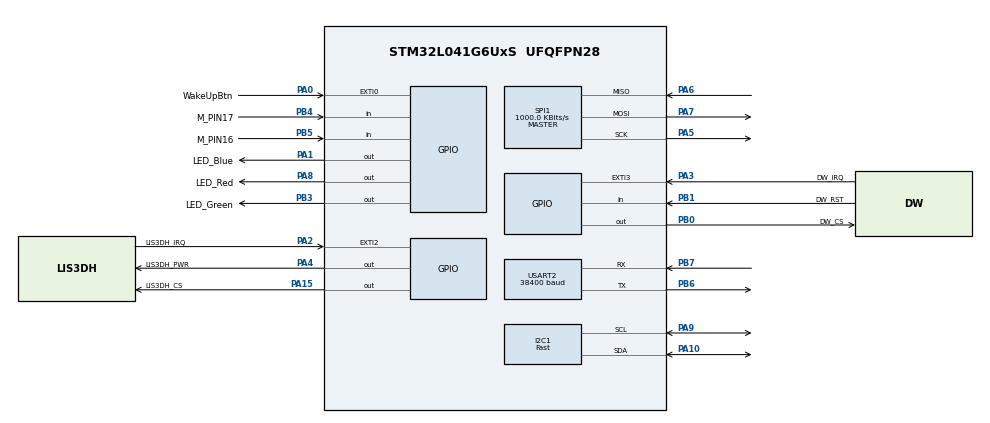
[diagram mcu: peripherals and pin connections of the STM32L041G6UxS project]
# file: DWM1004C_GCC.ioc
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Mcu.Family=STM32L0
PA0-CK_IN.GPIO_Label=WakeUpBtn
PA6.Mode=Full_Duplex_Master
I2C1.I2C_Speed_Mode=I2C_Fast
SPI1.VirtualType=VM_MASTER
VP_RTC_VS_RTC_Activate.Mode=RTC_Enabled
PB0.GPIO_Label=DW_CS
RCC.SYSCLKSource=RCC_SYSCLKSOURCE_HSI
ProjectManager.StackSize=0x400
PA15.GPIO_Label=LIS3DH_CS
PB0.PinState=GPIO_PIN_SET
PB3.PinState=GPIO_PIN_SET
SPI1.Direction=SPI_DIRECTION_2LINES
RCC.HCLKFreq_Value=16000000
RCC.APB2TimFreq_Value=16000000
PB6.Signal=USART2_TX
RCC.Usart2ClockSelection=RCC_USART2CLKSOURCE_HSI
PB6.Mode=Asynchronous
SPI1.CalculateBaudRate=1000.0 KBits/s
RCC.AHBFreq_Value=16000000
RCC.HSE_VALUE=8000000
USART2.VirtualMode-Asynchronous=VM_ASYNC
RCC.RTCClockSelection=RCC_RTCCLKSOURCE_LSI
RCC.PLLMUL=RCC_PLLMUL_4
USART2.OverSampling=UART_OVERSAMPLING_8
PA0-CK_IN.Signal=GPXTI0
RCC.RTCClockSelectionVirtual=RCC_RTCCLKSOURCE_LSE
PA14.Mode=Serial_Wire
PB1.GPIO_Label=DW_RST
PB7.Signal=USART2_RX
PA8.Signal=GPIO_Output
Mcu.Package=UFQFPN28
PB1.Signal=GPIO_Input
PA6.Signal=SPI1_MISO
PA2.GPIO_Label=LIS3DH_IRQ
PA10.Signal=I2C1_SDA
PA15.Signal=GPIO_Output
PA1.PinState=GPIO_PIN_SET
PB5.GPIO_Label=M_PIN16
RCC.APB1TimFreq_Value=16000000
SPI1.BaudRatePrescaler=SPI_BAUDRATEPRESCALER_16
PA4.GPIO_Label=LIS3DH_PWR
RCC.MSIClockRange=RCC_MSIRANGE_1
PA8.PinState=GPIO_PIN_SET
PB4.Signal=GPIO_Input
PA3.Signal=GPXTI3
PA5.Mode=Full_Duplex_Master
USART2.OverrunDisableParam=ADVFEATURE_OVERRUN_DISABLE
PB3.GPIO_Label=LED_Green
RCC.MSI_VALUE=131072
PA7.Mode=Full_Duplex_Master
PA10.Mode=I2C
NVIC.USART2_IRQn=true\:0\:0\:false\:false\:true\:true\:true
USART2.BaudRate=38400
PA13.Signal=SYS_SWDIO
RCC.HSI16_VALUE=16000000
PA9.Mode=I2C
PA8.GPIO_Label=LED_Red
PA4.PinState=GPIO_PIN_SET
ProjectManager.TargetToolchain=STM32CubeIDE
PA9.Signal=I2C1_SCL
I2C1.Timing=0x0010061A
PB4.GPIO_PuPd=GPIO_PULLUP
PA0-CK_IN.GPIO_PuPd=GPIO_PULLUP
RCC.LSE_VALUE=32768
PA1.Signal=GPIO_Output
PA5.Signal=SPI1_SCK
board=custom
RCC.VCOOutputFreq_Value=64000000
NVIC.EXTI2_3_IRQn=true\:0\:0\:false\:false\:true\:true\:true
PA15.PinState=GPIO_PIN_SET
RCC.APB2Freq_Value=16000000
PB4.GPIO_Label=M_PIN17
SPI1.Mode=SPI_MODE_MASTER
RCC.ADCFreq_Value=16000000
PA1.GPIO_Label=LED_Blue
PA13.Mode=Serial_Wire
Mcu.Name=STM32L041G6UxS
RCC.LptimClockSelection=RCC_LPTIM1CLKSOURCE_LSI
PA2.Signal=GPXTI2
PB3.Signal=GPIO_Output
PA4.Signal=GPIO_Output
RCC.SYSCLKFreq_VALUE=16000000
PB5.Signal=GPIO_Input
PB5.GPIO_PuPd=GPIO_PULLUP
PB7.Mode=Asynchronous
PA14.Signal=SYS_SWCLK
ProjectManager.HeapSize=0x200
RCC.HSI_VALUE=16000000
RCC.APB1Freq_Value=16000000
VP_CRC_VS_CRC.Mode=CRC_Activate
PB0.Signal=GPIO_Output
PA3.GPIO_Label=DW_IRQ
PA7.Signal=SPI1_MOSI
NVIC.EXTI0_1_IRQn=true\:0\:0\:false\:false\:true\:true\:true

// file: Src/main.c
/* USER CODE BEGIN Header */
/**
  ******************************************************************************
  * @file           : main.c
  * @brief          : Main program body
  ******************************************************************************
  * @attention
  *
  * <h2><center>&copy; Copyright (c) 2020 STMicroelectronics.
  * All rights reserved.</center></h2>
  *
  * This software component is licensed by ST under BSD 3-Clause license,
  * the "License"; You may not use this file except in compliance with the
  * License. You may obtain a copy of the License at:
  *                        opensource.org/licenses/BSD-3-Clause
  *
  ******************************************************************************
  */
/* USER CODE END Header */
#include "main.h"

/* USER CODE BEGIN Includes */
#include <stdint.h>
#include <stdlib.h>
#include "lis3dh.h"
#include "stm32l041xx.h"
/* USER CODE END Includes */

/* USER CODE BEGIN PD */
#define  TICK_INT_PRIORITY            ((uint32_t)0U)

/* USER CODE END PD */

/* USER CODE BEGIN PV */
/* Private variables ---------------------------------------------------------*/

/* USER CODE END PV */

void SystemClock_Config(void);
static void MX_GPIO_Init(void);
static void MX_SPI1_Init(void);
static void MX_USART2_UART_Init(void);
static void MX_I2C1_Init(void);
static void MX_CRC_Init(void);
static void MX_RTC_Init(void);
/* USER CODE BEGIN PFP */
/* Private function prototypes -----------------------------------------------*/

/* USER CODE END PFP */

/* USER CODE BEGIN 0 */

#include "port_platform.h"
#include "deca_types.h"
#include "deca_param_types.h"
#include "deca_regs.h"
#include "deca_device_api.h"
#include "default_config.h"
#include "instance.h"
#include "config.h"
#include "translate.h"

/* Structure for all global variables */
app_cfg_t app;

/*! ----------------------------------------------------------------------------
 *  @file    main.c
 *  @brief   Single-sided two-way ranging (SS TWR) API example code
 *
 *           This code implements a Single Sided Two Way Ranging between 2 x DWM1004C devices
 *           The same code supports both modes: Initiator and Responder
 *           The Initiator sends a "poll" frame (recording the TX time-stamp of the poll), after which it waits for a "response" message from the Responder
 *           to complete the exchange. The response message contains the remote responder's time-stamps of poll RX, and response TX. With this data and the
 *           local time-stamps, (of poll TX and response RX), the Initator works out a value for the time-of-flight over-the-air and, thus, the estimated
 *           distance between the two devices, which it writes to the UART console output.
 *
 * @attention
 *
 * Copyright 2020 (c) Decawave Ltd, Dublin, Ireland.
 *
 * All rights reserved.
 *
 * @author Decawave
 */

#include <stdio.h>
#include <string.h>

#include "deca_device_api.h"
#include "deca_regs.h"
#include "deca_spi.h"
#include "port_platform.h"

extern void set_los_nlos_config( uint8_t nlos );

/* Default antenna delay values for 64 MHz PRF. */
#define TX_ANT_DLY 16436
#define RX_ANT_DLY 16436

/* Frames used in the ranging process. */
static uint8 tx_poll_msg[] = {0x41, 0x88, 0, 0xCA, 0xDE, 'W', 'A', 'V', 'E', 0xE0, 0, 0};
static uint8 rx_resp_msg[] = {0x41, 0x88, 0, 0xCA, 0xDE, 'V', 'E', 'W', 'A', 0xE1, 0, 0, 0, 0, 0, 0, 0, 0, 0, 0};
/* Length of the common part of the message (up to and including the function code). */
#define ALL_MSG_COMMON_LEN 10
/* Indexes to access some of the fields in the frames defined above. */
#define ALL_MSG_SN_IDX 2
#define RESP_MSG_POLL_RX_TS_IDX 10
#define RESP_MSG_RESP_TX_TS_IDX 14  // actually NOT used : should be 15 , as 5 bytes timestamps exchanged in this FW, for temporary compatibility with diag tool
#define RESP_MSG_TS_LEN 4
/* Frame sequence number, incremented after each transmission. */
static uint8 frame_seq_nb = 0;

/* Buffer to store received response message.
 * Its size is adjusted to longest frame that this example code is supposed to handle. */
#define RX_BUF_LEN 64 // 20
static uint8 rx_buffer[RX_BUF_LEN];
static uint8_t seq_number;

/* Hold copy of status register state here for reference so that it can be examined at a debug breakpoint. */
static uint32 status_reg = 0;

/* UWB microsecond (uus) to device time unit (dtu, around 15.65 ps) conversion factor.
 * 1 uus = 512 / 499.2 �s and 1 �s = 499.2 * 128 dtu. */
#define UUS_TO_DWT_TIME 65536

/* Delay between frames, in UWB microseconds. */
#define POLL_TX_TO_RESP_RX_DLY_UUS 140
/* Receive response timeout. */
#define RESP_RX_TIMEOUT_UUS 210

/* Speed of light in air, in metres per second. */
#define SPEED_OF_LIGHT 299702547

/*
 * Code for Log10() and dB computation using integers only *
 *
 */
#define LOG_TAB_SZ  32

#define LOG10_2_x1000 301 // 100.0*(10*Log10(2))

const uint16_t log10_tab_1_2_int[LOG_TAB_SZ] = {
    0,  // = 100.0 * (10.0 * Log10( i / LOG_TAB_SZ)) i  = index in the table ranging from 0 to LOG_TAB_SZ - 1
    13,
    26,
    38,
    51,
    63,
    74,
    85,
    96,
    107,
    118,
    128,
    138,
    148,
    157,
    166,
    176,
    185,
    193,
    202,
    210,
    219,
    227,
    235,
    243,
    250,
    258,
    265,
    273,
    280,
    287,
    294
};

uint8_t get_msb(uint32_t x)
{
    uint8_t i = 1;
    for (i = 1; i < 32; i++)
    {
        if (x < (1UL << i))
        {
            break;
        }
    }
    return(i - 1);
}

uint32_t dB_x100(uint32_t x)
{
    uint32_t res, pow2_low_bound;
    int32_t log_tab_idx, msb;

    msb = get_msb(x);
    pow2_low_bound = (1UL << msb); // pow2_low_bound <= x < 2 x pow2_low_bound
    log_tab_idx = ((x - pow2_low_bound)*LOG_TAB_SZ) / pow2_low_bound; // 0<= log_tab_idx < LOG_TAB_SZ

    // x = r x 2^msb
    // log10(x) = log10(r) + msb x log10(2)
    // log10(x) = log10_tab[LOG_TAB_SZ x (r-1)] + msb x log10(2)
    res = (uint32_t)log10_tab_1_2_int[log_tab_idx] + msb * LOG10_2_x1000;

    return(res);
}

void get_ext_diag_info( dwt_rxdiag_t *p_diagnostics, int32_t *p_rx_lvl )
{
    uint32_t arg, n_rxpacc , n_rxpacc_nosat , br , rxprf ;
    int32_t  div , A_dBm_x100;

    dwt_readdiagnostics( p_diagnostics );

    n_rxpacc        = p_diagnostics->rxPreamCount; // was read from  = (dwt_read32bitreg(RX_FINFO_ID) & RX_FINFO_RXPACC_MASK) >> RX_FINFO_RXPACC_SHIFT  ;
    n_rxpacc_nosat  = dwt_read16bitoffsetreg(DRX_CONF_ID, 0x2C );
    if( n_rxpacc == n_rxpacc_nosat )
    {
        // then adjustment is needed
        br = (dwt_read32bitreg(RX_FINFO_ID) & RX_FINFO_RXBR_MASK) >> RX_FINFO_RXBR_SHIFT  ;
        if( br == RX_FINFO_RXBR_110k )
        {
/*          sfd_len = 64; The standard specifies the SFD, which consists of the preamble symbols either not sent, or sent as normal or
    sent inverted (i.e. positive and negative pulses reversed) in a defined pattern 8 symbol times long for data
    rates other than 110 kbps, and 64 symbols long for the 110 kbps mode. */
            n_rxpacc -= 64; // We assume standard SFD - see table 18 of dw1000_user_manual_2.12
        } else
        {
//          sfd_len = 8;
            n_rxpacc -= 5;  //  We assume standard SFD - see table 18 of dw1000_user_manual_2.12
        }
    }

    rxprf = (dwt_read32bitreg(RX_FINFO_ID) & RX_FINFO_RXPRF_MASK) >> RX_FINFO_RXPRF_SHIFT  ;
    if( rxprf == RX_FINFO_RXPRF_16M )
    {
        A_dBm_x100 = 11377; // 113.77 for a PRF of 16 MHz,
    } else
    {
        A_dBm_x100 = 12174; //  121.74 for a PRF of 64 MHz,
    }

    arg  = p_diagnostics->firstPathAmp1*p_diagnostics->firstPathAmp1;
    arg += p_diagnostics->firstPathAmp2*p_diagnostics->firstPathAmp2;
    arg += p_diagnostics->firstPathAmp3*p_diagnostics->firstPathAmp3;

    div = dB_x100( n_rxpacc*n_rxpacc ) ;

    // as documented in DW1000 User Manual section 4.7.2 Estimating the receive signal power
    // c = (uint32_t) (p_diagnostics->maxGrowthCIR) << 17;
    *p_rx_lvl = ( dB_x100( (uint32_t) (p_diagnostics->maxGrowthCIR) << 17 ) - div ) -  A_dBm_x100  ;

    return;
}

/* Delay between frames, in UWB microseconds. */
#define POLL_RX_TO_RESP_TX_DLY_UUS 1000 // 330
static uint8 tx_resp_msg[] = {0x41, 0x88, 0, 0xCA, 0xDE, 'V', 'E', 'W', 'A', 0xE1, 0, 0, 0, 0, 0, 0, 0, 0, 0, 0};

void resp_to_poll( uint8_t *p_rx_buffer , uint8_t len )
{
    tx_poll_msg[ ALL_MSG_SN_IDX ] = 0;
    if (memcmp(p_rx_buffer, tx_poll_msg, ALL_MSG_COMMON_LEN) == 0)
    {
        uint32 resp_tx_time , pream_len , bitrate_kbps ,t_xmt_pld_uus;
        uint64_t poll_rx_ts , resp_tx_ts ;
        int ret;

        /* Retrieve poll reception timestamp. */
        poll_rx_ts = 0;
        dwt_readrxtimestamp( (uint8_t*)&poll_rx_ts );

        /* Compute final message transmission time. */
        pream_len = deca_to_plen( app.pConfig->dwt_config.txPreambLength );
        /* Compute final message transmission time. */
        bitrate_kbps    = deca_to_bitrate( app.pConfig->dwt_config.dataRate );
        if( bitrate_kbps != 0 )
        {
            t_xmt_pld_uus = ( sizeof(tx_resp_msg) * 8 *1000 )/bitrate_kbps;
/*          if( bitrate_kbps  == 110 )
            {
                t_xmt_pld_uus += EXTRA_DLY_110K;
            } */
        }
        resp_tx_time = (poll_rx_ts + ((POLL_RX_TO_RESP_TX_DLY_UUS + pream_len + t_xmt_pld_uus ) * UUS_TO_DWT_TIME)) >> 8;

        resp_tx_time = (poll_rx_ts + ((POLL_RX_TO_RESP_TX_DLY_UUS + pream_len) * UUS_TO_DWT_TIME)) >> 8;
        dwt_setdelayedtrxtime(resp_tx_time);

        /* Response TX timestamp is the transmission time we programmed plus the antenna delay. */
        resp_tx_ts = (((uint64_t)(resp_tx_time & 0xFFFFFFFEUL)) << 8) + TX_ANT_DLY;

        /* Write all timestamps in the final message. */
        memset( &tx_resp_msg[RESP_MSG_POLL_RX_TS_IDX   ], 0 , 2*5 ); // currently 5 bytes per timestamp in the payload
        memcpy( &tx_resp_msg[RESP_MSG_POLL_RX_TS_IDX   ], &poll_rx_ts , sizeof(uint32_t) );
        memcpy( &tx_resp_msg[RESP_MSG_POLL_RX_TS_IDX +5], &resp_tx_ts , sizeof(uint32_t) );

        /* Write and send the response message. */
        tx_resp_msg[ALL_MSG_SN_IDX] = frame_seq_nb;
        dwt_writetxdata( RESP_MSG_POLL_RX_TS_IDX + 2*5 + 2 , tx_resp_msg, 0); /* Zero offset in TX buffer. */
        dwt_writetxfctrl(RESP_MSG_POLL_RX_TS_IDX + 2*5 + 2 , 0, 1); /* Zero offset in TX buffer, ranging. */
        ret = dwt_starttx(DWT_START_TX_DELAYED);

        /* If dwt_starttx() returns an error, abandon this ranging exchange and proceed to the next one. */
        if (ret == DWT_SUCCESS)
        {
            /* Poll DW1000 until TX frame sent event set. */
            while (!(dwt_read32bitreg(SYS_STATUS_ID) & SYS_STATUS_TXFRS))
            { };

            /* Clear TXFRS event. */
            dwt_write32bitreg(SYS_STATUS_ID, SYS_STATUS_TXFRS);

            /* Increment frame sequence number after transmission of the poll message (modulo 256). */
            frame_seq_nb++;
        } else
        {
            dw_printf("ERR TX_DLYED\n");
        }
    }
    return;
}

void calc_tof_from_rcved_resp( uint8_t *p_rx_buffer , uint8_t len )
{
    uint32 poll_tx_ts, resp_rx_ts, poll_rx_ts, resp_tx_ts;
    int32_t rtd_init, rtd_resp , rx_lvl , clk_offs_ppm_x100;
    dwt_rxdiag_t diagnostics;
    uint64_t dist_cm , c_hz2ppm_mult_chan;
    int64_t clk_offs;

    if (memcmp(p_rx_buffer, rx_resp_msg, ALL_MSG_COMMON_LEN) == 0)
    {
        /* Retrieve poll transmission and response reception timestamps. */
        poll_tx_ts = dwt_readtxtimestamplo32();
        resp_rx_ts = dwt_readrxtimestamplo32();
        /* Get timestamps embedded in response message. */
        memcpy(&poll_rx_ts , &p_rx_buffer[RESP_MSG_POLL_RX_TS_IDX    ] , sizeof(uint32_t) );
        memcpy(&resp_tx_ts , &p_rx_buffer[RESP_MSG_POLL_RX_TS_IDX + 5] , sizeof(uint32_t) );

        /* Compute time of flight and distance, using clock offset ratio to correct for differing local and remote clock rates */
        rtd_init = resp_rx_ts - poll_tx_ts;
        rtd_resp = resp_tx_ts - poll_rx_ts;

        // tof = ((rtd_init - rtd_resp * (1 - clockOffsetRatio)) / 2.0) * DWT_TIME_UNITS;
        // distance = tof * SPEED_OF_LIGHT;

// Multiplication factors to convert frequency offset in Hertz to PPM crystal offset
// NB: also changes sign so a positive value means the local RX clock is running slower than the remote TX device.
#define C_x_FREQ_OFFS_MULT_x_HZ2PPM_CH1 (318994)
#define C_x_FREQ_OFFS_MULT_x_HZ2PPM_CH2 (279120) // = (uint32_t)(FREQ_OFFSET_MULTIPLIER * HERTZ_TO_PPM_MULTIPLIER_CHAN_2 * SPEED_OF_LIGHT )
#define C_x_FREQ_OFFS_MULT_x_HZ2PPM_CH3 (248106)
#define C_x_FREQ_OFFS_MULT_x_HZ2PPM_CH5 (171766)

        /* Read carrier integrator value and calculate clock offset ratio */
        switch( app.pConfig->dwt_config.chan) // config.chan )
        {
            case 1:       c_hz2ppm_mult_chan = C_x_FREQ_OFFS_MULT_x_HZ2PPM_CH1;break;
            case 2:case 4:c_hz2ppm_mult_chan = C_x_FREQ_OFFS_MULT_x_HZ2PPM_CH2;break;
            case 3:       c_hz2ppm_mult_chan = C_x_FREQ_OFFS_MULT_x_HZ2PPM_CH3;break;
            case 5:case 7:c_hz2ppm_mult_chan = C_x_FREQ_OFFS_MULT_x_HZ2PPM_CH5;break;
            default:      c_hz2ppm_mult_chan = C_x_FREQ_OFFS_MULT_x_HZ2PPM_CH5;break;
        }
        if( app.pConfig->dwt_config.dataRate == DWT_BR_110K )
        {
            c_hz2ppm_mult_chan /= 8;
        }
        clk_offs = (int64_t)dwt_readcarrierintegrator() * c_hz2ppm_mult_chan;
        clk_offs_ppm_x100 = (int32_t)( ( clk_offs * 100 ) / (int64_t)SPEED_OF_LIGHT );

        dist_cm   = (uint64_t)1000000*(uint64_t)SPEED_OF_LIGHT*(uint64_t)rtd_init;
        dist_cm  -= (uint64_t)rtd_resp * ((uint64_t)1000000*(uint64_t)SPEED_OF_LIGHT + clk_offs );
        dist_cm /= 2;   // to get one single Time Of Flight
        dist_cm /= 499200000;
        dist_cm /= 128;
        dist_cm /= 10000; // if expressed in meters, would be 1000000 (i.e the scale factor used 5 lines above)

        get_ext_diag_info( &diagnostics, &rx_lvl );

        dw_printf("Dist_cm: %4d " , (uint32_t)dist_cm );
        dw_printf("RX: %4d.%2d " ,    rx_lvl/100 , (-rx_lvl)%100 );
        dw_printf("ClkPPM: %2d.%2d " , clk_offs_ppm_x100 / 100 , abs(clk_offs_ppm_x100) % 100 );
        dw_printf("SeqN: %3d\r\n" , (uint32_t)seq_number );
    }
    return;
}

uint8_t b_user_button = 1;

/**
* set the TX POW register 0x1E to its default recommended values as per table 20 of section 7.2.31 of User Manual
**/
const uint32_t txpow_STXP_DISabled_table20[ NUM_CH_SUPPORTED ][ NUM_PRF ] =
{
    // PRF 16MHz   PRF 64MHz
    { 0x00000000 , 0x00000000 }, // Chan '0' NOT RELEVANT
    { 0x75757575 , 0x67676767 }, // Chan 1
    { 0x75757575 , 0x67676767 }, // Chan 2
    { 0x6F6F6F6F , 0x8B8B8B8B }, // Chan 3
    { 0x5F5F5F5F , 0x9A9A9A9A }, // Chan 4
    { 0x48484848 , 0x85858585 }, // Chan 5
    { 0x00000000 , 0x00000000 }, // Chan '6' NOT RELEVANT
    { 0x92929292 , 0xD1D1D1D1 }  // Chan 7
};

/**
* set the pulse generator delay value - see User Manual - Table 40: Sub-Register 0x2A:0B � TC_PGDELAY recommended values
*/
const uint8_t pg_delay_table40[ NUM_CH_SUPPORTED ] =
{
    0,      		// Not relevant
    TC_PGDELAY_CH1, // 0xC9,    Recommended value for Chan 1
    TC_PGDELAY_CH2, // 0xC2,    Recommended value for Chan 2
    TC_PGDELAY_CH3, // 0xC5,    Recommended value for Chan 3
    TC_PGDELAY_CH4, // 0x95,    Recommended value for Chan 4
    TC_PGDELAY_CH5, // 0xC0,    Recommended value for Chan 5
    0,      		// Not relevant
    TC_PGDELAY_CH7, // 0x93     Recommended value for Chan 7
};

/* USER CODE END 0 */

int main(void)
{
  /* USER CODE BEGIN 1 */
    SET_BIT(DBGMCU->CR, DBGMCU_CR_DBG_SLEEP | DBGMCU_CR_DBG_STOP | DBGMCU_CR_DBG_STANDBY );
  /* USER CODE END 1 */

  /* MCU Configuration--------------------------------------------------------*/

  /* Reset of all peripherals, Initializes the Flash interface and the Systick. */

  LL_APB2_GRP1_EnableClock(LL_APB2_GRP1_PERIPH_SYSCFG);
  LL_APB1_GRP1_EnableClock(LL_APB1_GRP1_PERIPH_PWR);

  /* System interrupt init*/

  /* Configure the system clock */
  SystemClock_Config();

  /* USER CODE BEGIN SysInit */
    //  NVIC_SetPriority(SysTick_IRQn, TICK_INT_PRIORITY, 0);
    SysTick->CTRL  = SysTick_CTRL_CLKSOURCE_Msk |
                                         SysTick_CTRL_TICKINT_Msk |
                                         SysTick_CTRL_ENABLE_Msk;

    LL_RCC_SetClkAfterWakeFromStop(LL_RCC_STOP_WAKEUPCLOCK_HSI);
  /* USER CODE END SysInit */

  /* Initialize all configured peripherals */
  MX_GPIO_Init();
  MX_SPI1_Init();
  MX_USART2_UART_Init();
  MX_I2C1_Init();
  MX_CRC_Init();
  MX_RTC_Init();
  /* USER CODE BEGIN 2 */

    lis3dh_power_ON();

    memset(&app,0,sizeof(app));

    /* reset DW1000 */
    reset_DW1000();

    /* set default PRF and bit rate etc.. */
    load_bssConfig();                 /**< load the RAM Configuration parameters from NVM block */

    // Reset and initialise DW1000.
     // For initialisation, DW1000 clocks must be temporarily set to crystal speed. After initialisation SPI rate can be increased for optimum
     // performance.
    reset_DW1000(); // Target specific drive of RSTn line into DW1000 low for a period.
    port_set_dw1000_slowrate();
    if (dwt_initialise(DWT_LOADUCODE) == DWT_ERROR)
    {
        dw_printf("INIT FAILED\n\r");
        while (1)
        { };
    }

    port_set_dw1000_fastrate();

    // Configure DW1000.
    dwt_configure(&(app.pConfig->dwt_config)); // &config);

    // Configure TX power
    dwt_write32bitreg(TX_POWER_ID, txpow_STXP_DISabled_table20[ app.pConfig->dwt_config.chan ][ app.pConfig->dwt_config.prf - 1 ] );
    // Configure RF TX PG_DELAY
    dwt_write8bitoffsetreg(TX_CAL_ID, TC_PGDELAY_OFFSET, pg_delay_table40[ app.pConfig->dwt_config.chan ] );

    // The optimized configuration for 64 length preamble is achieved by calling dwt_configurefor64plen API function
    if( app.pConfig->dwt_config.txPreambLength == DWT_PLEN_64 )
    {
        dwt_configurefor64plen(app.pConfig->dwt_config.prf);
    }
    // Configure LDE (NTM, PMULT register) optimization targeting LOS or NLOS environment
    set_los_nlos_config( app.pConfig->nlos );

    // Apply default antenna delay value. */
    dwt_setrxantennadelay(RX_ANT_DLY);
    dwt_settxantennadelay(TX_ANT_DLY);

    if( app.pConfig->twr_role == TWR_INIT )
    {
        // Set expected response's delay and timeout.
        // As this example only handles one incoming frame with always the same delay and timeout, those values can be set here once for all.
      dwt_setrxaftertxdelay(POLL_TX_TO_RESP_RX_DLY_UUS);
    }
    dwt_setrxtimeout(65000); // RESP_RX_TIMEOUT_UUS

    dwt_setleds(3);

    dw_printf("Starting\n");

    // lis3dh_configure_int();
    // lis3dh_sensor_t* acc = lis3dh_init_sensor (I2C_BUS, LIS3DH_I2C_ADDRESS_2, 0);
    // while(!lis3dh_config_hpf(acc, lis3dh_hpf_normal_x, 0, true, true, false, false));

  /* USER CODE END 2 */

    	/*
    while(true)
    {
    	lis3dh_float_data_t reading;
    	if(!lis3dh_get_float_data(acc, &reading))
    		lis3dh_get_float_data_fifo(acc, &reading);

    	float rx = reading.ax / 2048.0
    		, ry = reading.ay / 2048.0
			, rz = reading.az / 2048.0;
    	dw_printf("reading: %f, %f, %f\n", rx, ry, rz);

    }
    */

  /* Infinite loop */
  /* USER CODE BEGIN WHILE */
    while (1)
    {
        if( b_user_button )
        {
            b_user_button = 0;
            dw_printf("User button pressed\n\r");
            if( app.pConfig->twr_role == TWR_INIT )
            {
                app.pConfig->twr_role = TWR_RESP;
                dw_printf("Switching from TWR_INIT to TWR_RESP\n\r");
                // Set expected response's delay and timeout.
                // As this example only handles one incoming frame with always the same delay and timeout, those values can be set here once for all.
                dwt_setrxaftertxdelay(POLL_TX_TO_RESP_RX_DLY_UUS);
                dwt_setrxtimeout(65000 ); // RESP_RX_TIMEOUT_UUS
            } else
            {
                app.pConfig->twr_role = TWR_INIT;
                dw_printf("Switching from TWR_RESP to TWR_INIT\n\r");
            }
        }
        if( deca_uart_rx_data_ready() )
        {
            //process UART msg based on user input.
            process_uartmsg();
            LEDS_OFF(LED_BLUE_MASK);
        }
        if( app.pConfig->twr_role == TWR_INIT )
        {
            LEDS_ON(LED_RED_MASK);
            //Write frame data to DW1000 and prepare transmission.
            tx_poll_msg[ALL_MSG_SN_IDX] = frame_seq_nb;
            dwt_write32bitreg(SYS_STATUS_ID, SYS_STATUS_TXFRS);
            dwt_writetxdata(sizeof(tx_poll_msg), tx_poll_msg, 0); // Zero offset in TX buffer.
            dwt_writetxfctrl(sizeof(tx_poll_msg), 0, 1); // Zero offset in TX buffer, ranging.

            // Start transmission, indicating that a response is expected so that reception is enabled automatically after the frame is sent and the delay
            // set by dwt_setrxaftertxdelay() has elapsed.
            dwt_starttx(DWT_START_TX_IMMEDIATE | DWT_RESPONSE_EXPECTED);

            // Increment frame sequence number after transmission of the poll message (modulo 256).
            frame_seq_nb++;
        } else
        {
            LEDS_ON(LED_GREEN_MASK);
            // Activate reception immediately.
            dwt_rxenable(DWT_START_RX_IMMEDIATE);
        }

        // We assume that the transmission is achieved correctly, poll for reception of a frame or error/timeout.
        while (!((status_reg = dwt_read32bitreg(SYS_STATUS_ID)) & (SYS_STATUS_RXFCG | SYS_STATUS_ALL_RX_TO | SYS_STATUS_ALL_RX_ERR)))
        { };

        if (status_reg & SYS_STATUS_RXFCG)
        {
            uint32 frame_len;

            // Clear good RX frame event in the DW1000 status register.
            dwt_write32bitreg(SYS_STATUS_ID, SYS_STATUS_RXFCG);

            // A frame has been received, read it into the local buffer.
            dw_printf("A frame has been received. \n\r");
            frame_len = dwt_read32bitreg(RX_FINFO_ID) & RX_FINFO_RXFLEN_MASK;
            if (frame_len <= RX_BUF_LEN)
            {
                            dwt_readrxdata(rx_buffer, frame_len, 0);
            }

            // Check that the frame is the expected response from the companion "SS TWR responder" example.
            //  As the sequence number field of the frame is not relevant, it is cleared to simplify the validation of the frame.
                                                    seq_number = rx_buffer[ALL_MSG_SN_IDX];
            rx_buffer[ALL_MSG_SN_IDX] = 0;

            if( app.pConfig->twr_role == TWR_INIT )
            {
                    calc_tof_from_rcved_resp( rx_buffer , frame_len );
            }
            else
            {
                    resp_to_poll( rx_buffer , frame_len );
            }
        }
        else
        {
            // Clear RX error/timeout events in the DW1000 status register.
            dwt_write32bitreg(SYS_STATUS_ID, SYS_STATUS_ALL_RX_TO | SYS_STATUS_ALL_RX_ERR);
            // dw_printf("Clearing error / timeout events. Resetting.. \n\r");
            // Reset RX to properly reinitialize LDE operation.
            dwt_rxreset();
        }

        LEDS_OFF(LED_RED_MASK|LED_GREEN_MASK|LED_BLUE_MASK);
        if( app.pConfig->twr_role == TWR_INIT )
        {
            // Execute a delay between ranging exchanges.
            deca_sleep(app.pConfig->blink.interval_in_ms); // RNG_DELAY_MS);
        }
    /* USER CODE END WHILE */

    /* USER CODE BEGIN 3 */
    //}
  /* USER CODE END 3 */
}
}

void SystemClock_Config(void)
{
  LL_FLASH_SetLatency(LL_FLASH_LATENCY_0);
  while(LL_FLASH_GetLatency()!= LL_FLASH_LATENCY_0)
  {
  }
  LL_PWR_SetRegulVoltageScaling(LL_PWR_REGU_VOLTAGE_SCALE1);
  LL_RCC_HSI_Enable();

   /* Wait till HSI is ready */
  while(LL_RCC_HSI_IsReady() != 1)
  LL_RCC_HSI_SetCalibTrimming(16);
  LL_RCC_LSI_Enable();

   /* Wait till LSI is ready */
  while(LL_RCC_LSI_IsReady() != 1)
  {

  }
  LL_PWR_EnableBkUpAccess();
  if(LL_RCC_GetRTCClockSource() != LL_RCC_RTC_CLKSOURCE_LSI)
  {
    LL_RCC_ForceBackupDomainReset();
    LL_RCC_ReleaseBackupDomainReset();
    LL_RCC_SetRTCClockSource(LL_RCC_RTC_CLKSOURCE_LSI);
  }
  LL_RCC_EnableRTC();
  LL_RCC_SetAHBPrescaler(LL_RCC_SYSCLK_DIV_1);
  LL_RCC_SetAPB1Prescaler(LL_RCC_APB1_DIV_1);
  LL_RCC_SetAPB2Prescaler(LL_RCC_APB2_DIV_1);
  LL_RCC_SetSysClkSource(LL_RCC_SYS_CLKSOURCE_HSI);

   /* Wait till System clock is ready */
  while(LL_RCC_GetSysClkSource() != LL_RCC_SYS_CLKSOURCE_STATUS_HSI)
  {

  }

  LL_Init1msTick(16000000);

  LL_SetSystemCoreClock(16000000);
  LL_RCC_SetUSARTClockSource(LL_RCC_USART2_CLKSOURCE_HSI);
  LL_RCC_SetI2CClockSource(LL_RCC_I2C1_CLKSOURCE_PCLK1);
}

static void MX_CRC_Init(void)
{

  /* Peripheral clock enable */
  LL_AHB1_GRP1_EnableClock(LL_AHB1_GRP1_PERIPH_CRC);

  /* USER CODE BEGIN CRC_Init 1 */
  // TODO check compatibility between CRC calculations in LL and HAL versions
  /* USER CODE END CRC_Init 1 */
  LL_CRC_SetInputDataReverseMode(CRC, LL_CRC_INDATA_REVERSE_NONE);
  LL_CRC_SetOutputDataReverseMode(CRC, LL_CRC_OUTDATA_REVERSE_NONE);
  LL_CRC_SetPolynomialCoef(CRC, LL_CRC_DEFAULT_CRC32_POLY);
  LL_CRC_SetPolynomialSize(CRC, LL_CRC_POLYLENGTH_32B);
  LL_CRC_SetInitialData(CRC, LL_CRC_DEFAULT_CRC_INITVALUE);

}

static void MX_I2C1_Init(void)
{

  LL_I2C_InitTypeDef I2C_InitStruct = {0};

  LL_GPIO_InitTypeDef GPIO_InitStruct = {0};

  LL_IOP_GRP1_EnableClock(LL_IOP_GRP1_PERIPH_GPIOA);
  /**I2C1 GPIO Configuration
  PA9   ------> I2C1_SCL
  PA10   ------> I2C1_SDA
  */
  GPIO_InitStruct.Pin = LL_GPIO_PIN_9;
  GPIO_InitStruct.Mode = LL_GPIO_MODE_ALTERNATE;
  GPIO_InitStruct.Speed = LL_GPIO_SPEED_FREQ_VERY_HIGH;
  GPIO_InitStruct.OutputType = LL_GPIO_OUTPUT_OPENDRAIN;
  GPIO_InitStruct.Pull = LL_GPIO_PULL_UP;
  GPIO_InitStruct.Alternate = LL_GPIO_AF_1;
  LL_GPIO_Init(GPIOA, &GPIO_InitStruct);

  GPIO_InitStruct.Pin = LL_GPIO_PIN_10;
  GPIO_InitStruct.Mode = LL_GPIO_MODE_ALTERNATE;
  GPIO_InitStruct.Speed = LL_GPIO_SPEED_FREQ_VERY_HIGH;
  GPIO_InitStruct.OutputType = LL_GPIO_OUTPUT_OPENDRAIN;
  GPIO_InitStruct.Pull = LL_GPIO_PULL_UP;
  GPIO_InitStruct.Alternate = LL_GPIO_AF_1;
  LL_GPIO_Init(GPIOA, &GPIO_InitStruct);

  /* Peripheral clock enable */
  LL_APB1_GRP1_EnableClock(LL_APB1_GRP1_PERIPH_I2C1);

  /** I2C Initialization
  */
  LL_I2C_EnableAutoEndMode(I2C1);
  LL_I2C_DisableOwnAddress2(I2C1);
  LL_I2C_DisableGeneralCall(I2C1);
  LL_I2C_EnableClockStretching(I2C1);
  I2C_InitStruct.PeripheralMode = LL_I2C_MODE_I2C;
  I2C_InitStruct.Timing = 0x0010061A;
  I2C_InitStruct.AnalogFilter = LL_I2C_ANALOGFILTER_ENABLE;
  I2C_InitStruct.DigitalFilter = 0;
  I2C_InitStruct.OwnAddress1 = 0;
  I2C_InitStruct.TypeAcknowledge = LL_I2C_ACK;
  I2C_InitStruct.OwnAddrSize = LL_I2C_OWNADDRESS1_7BIT;
  LL_I2C_Init(I2C1, &I2C_InitStruct);
  LL_I2C_SetOwnAddress2(I2C1, 0, LL_I2C_OWNADDRESS2_NOMASK);

}

static void MX_RTC_Init(void)
{

  LL_RTC_InitTypeDef RTC_InitStruct = {0};

  /* Peripheral clock enable */
  LL_RCC_EnableRTC();

  /** Initialize RTC and set the Time and Date
  */
  RTC_InitStruct.HourFormat = LL_RTC_HOURFORMAT_24HOUR;
  RTC_InitStruct.AsynchPrescaler = 127;
  RTC_InitStruct.SynchPrescaler = 255;
  LL_RTC_Init(RTC, &RTC_InitStruct);

}

static void MX_SPI1_Init(void)
{

  LL_SPI_InitTypeDef SPI_InitStruct = {0};

  LL_GPIO_InitTypeDef GPIO_InitStruct = {0};

  /* Peripheral clock enable */
  LL_APB2_GRP1_EnableClock(LL_APB2_GRP1_PERIPH_SPI1);

  LL_IOP_GRP1_EnableClock(LL_IOP_GRP1_PERIPH_GPIOA);
  /**SPI1 GPIO Configuration
  PA5   ------> SPI1_SCK
  PA6   ------> SPI1_MISO
  PA7   ------> SPI1_MOSI
  */
  GPIO_InitStruct.Pin = LL_GPIO_PIN_5;
  GPIO_InitStruct.Mode = LL_GPIO_MODE_ALTERNATE;
  GPIO_InitStruct.Speed = LL_GPIO_SPEED_FREQ_VERY_HIGH;
  GPIO_InitStruct.OutputType = LL_GPIO_OUTPUT_PUSHPULL;
  GPIO_InitStruct.Pull = LL_GPIO_PULL_NO;
  GPIO_InitStruct.Alternate = LL_GPIO_AF_0;
  LL_GPIO_Init(GPIOA, &GPIO_InitStruct);

  GPIO_InitStruct.Pin = LL_GPIO_PIN_6;
  GPIO_InitStruct.Mode = LL_GPIO_MODE_ALTERNATE;
  GPIO_InitStruct.Speed = LL_GPIO_SPEED_FREQ_VERY_HIGH;
  GPIO_InitStruct.OutputType = LL_GPIO_OUTPUT_PUSHPULL;
  GPIO_InitStruct.Pull = LL_GPIO_PULL_NO;
  GPIO_InitStruct.Alternate = LL_GPIO_AF_0;
  LL_GPIO_Init(GPIOA, &GPIO_InitStruct);

  GPIO_InitStruct.Pin = LL_GPIO_PIN_7;
  GPIO_InitStruct.Mode = LL_GPIO_MODE_ALTERNATE;
  GPIO_InitStruct.Speed = LL_GPIO_SPEED_FREQ_VERY_HIGH;
  GPIO_InitStruct.OutputType = LL_GPIO_OUTPUT_PUSHPULL;
  GPIO_InitStruct.Pull = LL_GPIO_PULL_NO;
  GPIO_InitStruct.Alternate = LL_GPIO_AF_0;
  LL_GPIO_Init(GPIOA, &GPIO_InitStruct);

  /* SPI1 parameter configuration*/
  SPI_InitStruct.TransferDirection = LL_SPI_FULL_DUPLEX;
  SPI_InitStruct.Mode = LL_SPI_MODE_MASTER;
  SPI_InitStruct.DataWidth = LL_SPI_DATAWIDTH_8BIT;
  SPI_InitStruct.ClockPolarity = LL_SPI_POLARITY_LOW;
  SPI_InitStruct.ClockPhase = LL_SPI_PHASE_1EDGE;
  SPI_InitStruct.NSS = LL_SPI_NSS_SOFT;
  SPI_InitStruct.BaudRate = LL_SPI_BAUDRATEPRESCALER_DIV16;
  SPI_InitStruct.BitOrder = LL_SPI_MSB_FIRST;
  SPI_InitStruct.CRCCalculation = LL_SPI_CRCCALCULATION_DISABLE;
  SPI_InitStruct.CRCPoly = 7;
  LL_SPI_Init(SPI1, &SPI_InitStruct);
  LL_SPI_SetStandard(SPI1, LL_SPI_PROTOCOL_MOTOROLA);
  /* USER CODE BEGIN SPI1_Init 2 */

  LL_SPI_Enable(SPI1);

  /* USER CODE END SPI1_Init 2 */

}

static void MX_USART2_UART_Init(void)
{

  /* USER CODE BEGIN USART2_Init 0 */

    LL_GPIO_SetOutputPin(GPIOB, LL_GPIO_PIN_6);
    LL_GPIO_SetOutputPin(GPIOB, LL_GPIO_PIN_7);

  /* USER CODE END USART2_Init 0 */

  LL_USART_InitTypeDef USART_InitStruct = {0};

  LL_GPIO_InitTypeDef GPIO_InitStruct = {0};

  /* Peripheral clock enable */
  LL_APB1_GRP1_EnableClock(LL_APB1_GRP1_PERIPH_USART2);

  LL_IOP_GRP1_EnableClock(LL_IOP_GRP1_PERIPH_GPIOB);
  /**USART2 GPIO Configuration
  PB6   ------> USART2_TX
  PB7   ------> USART2_RX
  */
  GPIO_InitStruct.Pin = LL_GPIO_PIN_6;
  GPIO_InitStruct.Mode = LL_GPIO_MODE_ALTERNATE;
  GPIO_InitStruct.Speed = LL_GPIO_SPEED_FREQ_VERY_HIGH;
  GPIO_InitStruct.OutputType = LL_GPIO_OUTPUT_PUSHPULL;
  GPIO_InitStruct.Pull = LL_GPIO_PULL_NO;
  GPIO_InitStruct.Alternate = LL_GPIO_AF_0;
  LL_GPIO_Init(GPIOB, &GPIO_InitStruct);

  GPIO_InitStruct.Pin = LL_GPIO_PIN_7;
  GPIO_InitStruct.Mode = LL_GPIO_MODE_ALTERNATE;
  GPIO_InitStruct.Speed = LL_GPIO_SPEED_FREQ_VERY_HIGH;
  GPIO_InitStruct.OutputType = LL_GPIO_OUTPUT_PUSHPULL;
  GPIO_InitStruct.Pull = LL_GPIO_PULL_NO;
  GPIO_InitStruct.Alternate = LL_GPIO_AF_0;
  LL_GPIO_Init(GPIOB, &GPIO_InitStruct);

  /* USART2 interrupt Init */
  NVIC_SetPriority(USART2_IRQn, 0);
  NVIC_EnableIRQ(USART2_IRQn);

  USART_InitStruct.BaudRate = 38400;
  USART_InitStruct.DataWidth = LL_USART_DATAWIDTH_8B;
  USART_InitStruct.StopBits = LL_USART_STOPBITS_1;
  USART_InitStruct.Parity = LL_USART_PARITY_NONE;
  USART_InitStruct.TransferDirection = LL_USART_DIRECTION_TX_RX;
  USART_InitStruct.HardwareFlowControl = LL_USART_HWCONTROL_NONE;
  USART_InitStruct.OverSampling = LL_USART_OVERSAMPLING_8;
  LL_USART_Init(USART2, &USART_InitStruct);
  LL_USART_DisableOverrunDetect(USART2);
  LL_USART_ConfigAsyncMode(USART2);
  LL_USART_Enable(USART2);
  /* USER CODE BEGIN USART2_Init 2 */

  uint32_t WakeUpType = LL_USART_GetWKUPType(USART2);
  if ( WakeUpType != USART_CR3_WUS_1 ) {
      LL_USART_Disable(USART2);
      MODIFY_REG(USART2->CR3, USART_CR3_WUS, USART_CR3_WUS_1);
      LL_USART_Enable(USART2);
//      LEDS_INVERT(LED_RED1_MASK);
  }

  LL_USART_EnableIT_PE( USART2 );
  LL_USART_EnableIT_ERROR( USART2 );
  LL_USART_EnableIT_RXNE(USART2);

    LL_GPIO_SetOutputPin(GPIOB, LL_GPIO_PIN_6);
    LL_GPIO_SetOutputPin(GPIOB, LL_GPIO_PIN_7);

  /* USER CODE END USART2_Init 2 */

}

static void MX_GPIO_Init(void)
{
  LL_EXTI_InitTypeDef EXTI_InitStruct = {0};
  LL_GPIO_InitTypeDef GPIO_InitStruct = {0};

  /* GPIO Ports Clock Enable */
  LL_IOP_GRP1_EnableClock(LL_IOP_GRP1_PERIPH_GPIOA);
  LL_IOP_GRP1_EnableClock(LL_IOP_GRP1_PERIPH_GPIOB);

  /**/
  LL_GPIO_SetOutputPin(LED_Blue_GPIO_Port, LED_Blue_Pin);

  /**/
  LL_GPIO_SetOutputPin(LIS3DH_PWR_GPIO_Port, LIS3DH_PWR_Pin);

  /**/
  LL_GPIO_SetOutputPin(DW_CS_GPIO_Port, DW_CS_Pin);

  /**/
  LL_GPIO_SetOutputPin(LED_Red_GPIO_Port, LED_Red_Pin);

  /**/
  LL_GPIO_SetOutputPin(LIS3DH_CS_GPIO_Port, LIS3DH_CS_Pin);

  /**/
  LL_GPIO_SetOutputPin(LED_Green_GPIO_Port, LED_Green_Pin);

  /**/
  LL_SYSCFG_SetEXTISource(LL_SYSCFG_EXTI_PORTA, LL_SYSCFG_EXTI_LINE0);

  /**/
  LL_SYSCFG_SetEXTISource(LL_SYSCFG_EXTI_PORTA, LL_SYSCFG_EXTI_LINE2);

  /**/
  LL_SYSCFG_SetEXTISource(LL_SYSCFG_EXTI_PORTA, LL_SYSCFG_EXTI_LINE3);

  /**/
  LL_GPIO_SetPinPull(WakeUpBtn_GPIO_Port, WakeUpBtn_Pin, LL_GPIO_PULL_UP);

  /**/
  LL_GPIO_SetPinPull(LIS3DH_IRQ_GPIO_Port, LIS3DH_IRQ_Pin, LL_GPIO_PULL_NO);

  /**/
  LL_GPIO_SetPinPull(DW_IRQ_GPIO_Port, DW_IRQ_Pin, LL_GPIO_PULL_NO);

  /**/
  LL_GPIO_SetPinMode(WakeUpBtn_GPIO_Port, WakeUpBtn_Pin, LL_GPIO_MODE_INPUT);

  /**/
  LL_GPIO_SetPinMode(LIS3DH_IRQ_GPIO_Port, LIS3DH_IRQ_Pin, LL_GPIO_MODE_INPUT);

  /**/
  LL_GPIO_SetPinMode(DW_IRQ_GPIO_Port, DW_IRQ_Pin, LL_GPIO_MODE_INPUT);

  /**/
  EXTI_InitStruct.Line_0_31 = LL_EXTI_LINE_0;
  EXTI_InitStruct.LineCommand = ENABLE;
  EXTI_InitStruct.Mode = LL_EXTI_MODE_IT;
  EXTI_InitStruct.Trigger = LL_EXTI_TRIGGER_RISING;
  LL_EXTI_Init(&EXTI_InitStruct);

  /**/
  EXTI_InitStruct.Line_0_31 = LL_EXTI_LINE_2;
  EXTI_InitStruct.LineCommand = ENABLE;
  EXTI_InitStruct.Mode = LL_EXTI_MODE_IT;
  EXTI_InitStruct.Trigger = LL_EXTI_TRIGGER_RISING;
  LL_EXTI_Init(&EXTI_InitStruct);

  /**/
  EXTI_InitStruct.Line_0_31 = LL_EXTI_LINE_3;
  EXTI_InitStruct.LineCommand = ENABLE;
  EXTI_InitStruct.Mode = LL_EXTI_MODE_IT;
  EXTI_InitStruct.Trigger = LL_EXTI_TRIGGER_RISING;
  LL_EXTI_Init(&EXTI_InitStruct);

  /**/
  GPIO_InitStruct.Pin = LED_Blue_Pin;
  GPIO_InitStruct.Mode = LL_GPIO_MODE_OUTPUT;
  GPIO_InitStruct.Speed = LL_GPIO_SPEED_FREQ_LOW;
  GPIO_InitStruct.OutputType = LL_GPIO_OUTPUT_PUSHPULL;
  GPIO_InitStruct.Pull = LL_GPIO_PULL_NO;
  LL_GPIO_Init(LED_Blue_GPIO_Port, &GPIO_InitStruct);

  /**/
  GPIO_InitStruct.Pin = LIS3DH_PWR_Pin;
  GPIO_InitStruct.Mode = LL_GPIO_MODE_OUTPUT;
  GPIO_InitStruct.Speed = LL_GPIO_SPEED_FREQ_LOW;
  GPIO_InitStruct.OutputType = LL_GPIO_OUTPUT_PUSHPULL;
  GPIO_InitStruct.Pull = LL_GPIO_PULL_NO;
  LL_GPIO_Init(LIS3DH_PWR_GPIO_Port, &GPIO_InitStruct);

  /**/
  GPIO_InitStruct.Pin = DW_CS_Pin;
  GPIO_InitStruct.Mode = LL_GPIO_MODE_OUTPUT;
  GPIO_InitStruct.Speed = LL_GPIO_SPEED_FREQ_LOW;
  GPIO_InitStruct.OutputType = LL_GPIO_OUTPUT_PUSHPULL;
  GPIO_InitStruct.Pull = LL_GPIO_PULL_NO;
  LL_GPIO_Init(DW_CS_GPIO_Port, &GPIO_InitStruct);

  /**/
  GPIO_InitStruct.Pin = DW_RST_Pin;
  GPIO_InitStruct.Mode = LL_GPIO_MODE_INPUT;
  GPIO_InitStruct.Pull = LL_GPIO_PULL_NO;
  LL_GPIO_Init(DW_RST_GPIO_Port, &GPIO_InitStruct);

  /**/
  GPIO_InitStruct.Pin = LED_Red_Pin;
  GPIO_InitStruct.Mode = LL_GPIO_MODE_OUTPUT;
  GPIO_InitStruct.Speed = LL_GPIO_SPEED_FREQ_LOW;
  GPIO_InitStruct.OutputType = LL_GPIO_OUTPUT_PUSHPULL;
  GPIO_InitStruct.Pull = LL_GPIO_PULL_NO;
  LL_GPIO_Init(LED_Red_GPIO_Port, &GPIO_InitStruct);

  /**/
  GPIO_InitStruct.Pin = LIS3DH_CS_Pin;
  GPIO_InitStruct.Mode = LL_GPIO_MODE_OUTPUT;
  GPIO_InitStruct.Speed = LL_GPIO_SPEED_FREQ_LOW;
  GPIO_InitStruct.OutputType = LL_GPIO_OUTPUT_PUSHPULL;
  GPIO_InitStruct.Pull = LL_GPIO_PULL_NO;
  LL_GPIO_Init(LIS3DH_CS_GPIO_Port, &GPIO_InitStruct);

  /**/
  GPIO_InitStruct.Pin = LED_Green_Pin;
  GPIO_InitStruct.Mode = LL_GPIO_MODE_OUTPUT;
  GPIO_InitStruct.Speed = LL_GPIO_SPEED_FREQ_LOW;
  GPIO_InitStruct.OutputType = LL_GPIO_OUTPUT_PUSHPULL;
  GPIO_InitStruct.Pull = LL_GPIO_PULL_NO;
  LL_GPIO_Init(LED_Green_GPIO_Port, &GPIO_InitStruct);

  /**/
  GPIO_InitStruct.Pin = M_PIN17_Pin;
  GPIO_InitStruct.Mode = LL_GPIO_MODE_INPUT;
  GPIO_InitStruct.Pull = LL_GPIO_PULL_UP;
  LL_GPIO_Init(M_PIN17_GPIO_Port, &GPIO_InitStruct);

  /**/
  GPIO_InitStruct.Pin = M_PIN16_Pin;
  GPIO_InitStruct.Mode = LL_GPIO_MODE_INPUT;
  GPIO_InitStruct.Pull = LL_GPIO_PULL_UP;
  LL_GPIO_Init(M_PIN16_GPIO_Port, &GPIO_InitStruct);

  /* EXTI interrupt init*/
  NVIC_SetPriority(EXTI0_1_IRQn, 0);
  NVIC_EnableIRQ(EXTI0_1_IRQn);
  NVIC_SetPriority(EXTI2_3_IRQn, 0);
  NVIC_EnableIRQ(EXTI2_3_IRQn);

}

void Error_Handler(void)
{
  while(1)
  {
  }
}

/************************ (C) COPYRIGHT STMicroelectronics *****END OF FILE****/
